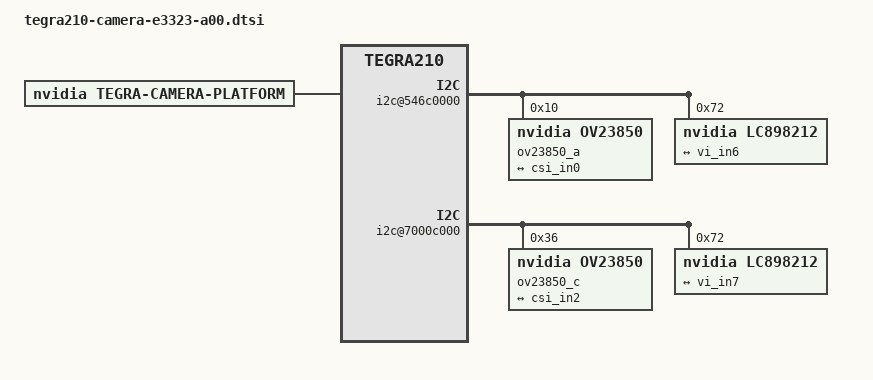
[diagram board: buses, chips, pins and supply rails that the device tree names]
/*
 * Copyright (c) 2015, NVIDIA CORPORATION.  All rights reserved.
 *
 * This program is free software; you can redistribute it and/or modify
 * it under the terms of the GNU General Public License as published by
 * the Free Software Foundation; either version 2 of the License, or
 * (at your option) any later version.
 *
 * This program is distributed in the hope that it will be useful, but WITHOUT
 * ANY WARRANTY; without even the implied warranty of MERCHANTABILITY or
 * FITNESS FOR A PARTICULAR PURPOSE.  See the GNU General Public License for
 * more details.
 *
 * You should have received a copy of the GNU General Public License
 * along with this program.  If not, see <http://www.gnu.org/licenses/>.
 */

#include <dt-bindings/media/camera.h>
#include <dt-bindings/platform/t210/t210.h>

/ {
	host1x {
		vi {
			ports {
				port@6 {
					reg = <6>;

					vi_in6: endpoint {
						remote-endpoint = <&lc898212_out0>;
					};
				};
				port@7 {
					reg = <7>;

					vi_in7: endpoint {
						remote-endpoint = <&lc898212_out1>;
					};
				};
			};
			csia@54080838 {
				ports {
					#address-cells = <1>;
					#size-cells = <0>;

					port@0 {
						reg = <0>;
						csi_in0: endpoint@0 {
							bus-width = <4>;
							remote-endpoint = <&ov23850_out0>;
						};
					};
				};
			};

			csic@54081038 {
				ports {
					#address-cells = <1>;
					#size-cells = <0>;

					port@0 {
						reg = <0>;
						csi_in2: endpoint@0 {
							bus-width = <4>;
							remote-endpoint = <&ov23850_out2>;
						};
					};
				};
			};
		};

		i2c@546c0000 {
			ov23850_a@10 {
				compatible = "nvidia,ov23850";

				reg = <0x10>;
				/* Physical dimensions of sensor */
				physical_w = "7.3998";
				physical_h = "5.5998";

				/* Define any required hw resources needed by driver */
				/* ie. clocks, io pins, power sources */
				avdd-reg = "vana";
				dvdd-reg = "vdig";
				iovdd-reg = "vif";
				vcmvdd-reg = "vvcm";
				devnode = "/dev/camera/video0";

				/**
				* Generic formula to calculate different parameters.
				* Please add the formula in proper parenthesis.
				* Formula must contain only these operators '*' '/' '+' '-' '(' ')'
				* Formula containing both numbers and variables is supported. Refer example #3.
				* There must be atleast one operator inside the parenthesis. Refer example #4.
				* Don't use spaces. Refer example #5.
				*
				* Examples -
				* 1. formula = "(powerx+powery)+(exposure*2)"; /// correct example
				* 2. formula = "((2*(6-1))/2)*4";          /// correct example
				* 3. formula = "((powerx*(6-1))/2)*4";     /// correct example
				* 4. formula = "((2*(6-1))*2)/(2)";        /// incorrect example - extra use of parenthesis
				* 5. formula = "((2*(6-1)) / 2)*4";        /// incorrect example - use of spaces
				*/

				/**
				* A modeX node is required to support v4l2 driver
				* implementation with NVIDIA camera software stack
				*
				* mclk_khz = "";
				* Standard MIPI driving clock, typically 24MHz
				*
				* num_lanes = "";
				* Number of lane channels sensor is programmed to output
				*
				* tegra_sinterface = "";
				* The base tegra serial interface lanes are connected to
				*
				* discontinuous_clk = "";
				* The sensor is programmed to use a discontinuous clock on MIPI lanes
				*
				* dpcm_enable = "true";
				* The sensor is programmed to use a DPCM modes
				*
				* cil_settletime = "";
				* MIPI lane settle time value.
				* A "0" value attempts to autocalibrate based on mclk_multiplier
				*
				*
				*
				*
				* active_w = "";
				* Pixel active region width
				*
				* active_h = "";
				* Pixel active region height
				*
				* pixel_t = "";
				* The sensor readout pixel pattern
				*
				* readout_orientation = "0";
				* Based on camera module orientation.
				* Only change readout_orientation if you specifically
				* Program a different readout order for this mode
				*
				* line_length = "";
				* Pixel line length (width) for sensor mode.
				* This is used to calibrate features in our camera stack.
				*
				* mclk_multiplier = "";
				* Multiplier to MCLK to help time hardware capture sequence
				* TODO: Assign to PLL_Multiplier as well until fixed in core
				*
				* pix_clk_hz = "";
				* Sensor pixel clock used for calculations like exposure and framerate
				*
				*
				*
				*
				* inherent_gain = "";
				* Gain obtained inherently from mode (ie. pixel binning)
				*
				* min_gain_val = ""; (floor to 6 decimal places)
				* max_gain_val = ""; (floor to 6 decimal places)
				* Gain limits for mode
				*
				* min_exp_time = ""; (ceil to integer)
				* max_exp_time = ""; (ceil to integer)
				* Exposure Time limits for mode (us)
				*
				*
				* min_hdr_ratio = "";
				* max_hdr_ratio = "";
				* HDR Ratio limits for mode
				*
				* min_framerate = "";
				* max_framerate = "";
				* Framerate limits for mode (fps)
				*
				*/

				mode0 { // OV23850_MODE_5632X4224
					mclk_khz = "24000";
					num_lanes = "4";
					tegra_sinterface = "serial_a";
					discontinuous_clk = "no";
					dpcm_enable = "false";
					cil_settletime = "0";

					active_w = "5632";
					active_h = "4224";
					pixel_t = "bayer_bggr";
					readout_orientation = "270";
					line_length = "7200";
					inherent_gain = "1";
					mclk_multiplier = "31.25";
					pix_clk_hz = "750000000";

					min_gain_val = "1.0";
					max_gain_val = "15.5";
					min_hdr_ratio = "1";
					max_hdr_ratio = "64";
					min_framerate = "3.179011";
					max_framerate = "21";
					min_exp_time = "20";
					max_exp_time = "314256";
				};

				mode1 { // OV23850_MODE_5632X3168
					mclk_khz = "24000";
					num_lanes = "4";
					tegra_sinterface = "serial_a";
					discontinuous_clk = "no";
					dpcm_enable = "false";
					cil_settletime = "0";

					active_w = "5632";
					active_h = "3168";
					pixel_t = "bayer_bggr";
					readout_orientation = "270";
					line_length = "7108";
					inherent_gain = "1";
					mclk_multiplier = "31.25";
					pix_clk_hz = "750000000";

					min_gain_val = "1.0";
					max_gain_val = "15.5";
					min_hdr_ratio = "1";
					max_hdr_ratio = "64";
					min_framerate = "3.220157";
					max_framerate = "30";
					min_exp_time = "19";
					max_exp_time = "310241";
				};
				ports {
					#address-cells = <1>;
					#size-cells = <0>;

					port@0 {
						reg = <0>;
						ov23850_out0: endpoint {
							bus-width = <4>;
							remote-endpoint = <&csi_in0>;
						};
					};
				};
			};
			lc898212@6_0072 {
				compatible = "nvidia,lc898212";
				reg = <0x72>;

				/* physical camera layer interface tags */
				devnode = "/dev/camera/video6";
				/**
				* Type specifies the control features supported by
				* the focuser driver.
				* default type means only position control setting
				* supported by the focuser
				*/
				type = "default";

				ports {
					#address-cells = <1>;
					#size-cells = <0>;
					port@0 {
						reg = <0>;
						lc898212_out0: endpoint {
							remote-endpoint = <&vi_in6>;
						};
					};
				};
			};
		};
	};

	i2c@7000c000 {
		ov23850_c@36 {
			compatible = "nvidia,ov23850";

			reg = <0x36>;
			/* Physical dimensions of sensor */
			physical_w = "7.3998";
			physical_h = "5.5998";

			/* Define any required hw resources needed by driver */
			/* ie. clocks, io pins, power sources */
			avdd-reg = "vana";
			dvdd-reg = "vdig";
			iovdd-reg = "vif";
			vcmvdd-reg = "vvcm";
			devnode = "/dev/camera/video2";

			mode0 { // OV23850_MODE_5632X4224
				mclk_khz = "24000";
				num_lanes = "4";
				tegra_sinterface = "serial_c";
				discontinuous_clk = "no";
				dpcm_enable = "false";
				cil_settletime = "0";

				active_w = "5632";
				active_h = "4224";
				pixel_t = "bayer_bggr";
				readout_orientation = "270";
				line_length = "7200";
				inherent_gain = "1";
				mclk_multiplier = "31.25";
				pix_clk_hz = "750000000";

				min_gain_val = "1.0";
				max_gain_val = "15.5";
				min_hdr_ratio = "1";
				max_hdr_ratio = "64";
				min_framerate = "3.179011";
				max_framerate = "21";
				min_exp_time = "20";
				max_exp_time = "314256";
			};

			mode1 { // OV23850_MODE_5632X3168
				mclk_khz = "24000";
				num_lanes = "4";
				tegra_sinterface = "serial_c";
				discontinuous_clk = "no";
				dpcm_enable = "false";
				cil_settletime = "0";

				active_w = "5632";
				active_h = "3168";
				pixel_t = "bayer_bggr";
				readout_orientation = "270";
				line_length = "7108";
				inherent_gain = "1";
				mclk_multiplier = "31.25";
				pix_clk_hz = "750000000";

				min_gain_val = "1.0";
				max_gain_val = "15.5";
				min_hdr_ratio = "1";
				max_hdr_ratio = "64";
				min_framerate = "3.220157";
				max_framerate = "30";
				min_exp_time = "19";
				max_exp_time = "310467";
			};
			ports {
				#address-cells = <1>;
				#size-cells = <0>;

				port@0 {
					reg = <0>;
					ov23850_out2: endpoint {
						bus-width = <4>;
						remote-endpoint = <&csi_in2>;
					};
				};
			};
		};

		lc898212@0_0072 {
			compatible = "nvidia,lc898212";
			reg = <0x72>;

			/* physical camera layer interface tags */
			devnode = "/dev/camera/video7";
			type = "default";

			ports {
				#address-cells = <1>;
				#size-cells = <0>;
				port@0 {
					reg = <0>;
					lc898212_out1: endpoint {
						remote-endpoint = <&vi_in7>;
					};
				};
			};
		};
	};

	tegra-camera-platform {
		compatible = "nvidia, tegra-camera-platform";

		/**
		* The general guideline for naming badge_info contains 3 parts, and is as follows,
		* The first part is the camera_board_id for the module; if the module is in a FFD
		* platform, then use the platform name for this part.
		* The second part contains the position of the module, ex. “rear” or “front”.
		* The third part contains the last 6 characters of a part number which is found
		* in the module's specsheet from the vender.
		*/
		modules {
			module0 {
				badge = "e3323_bottom_CH06P1";
				position = "bottom";
				orientation = "3";
				drivernode0 {
					/* Declare PCL support driver (classically known as guid)  */
					pcl_id = "v4l2_soc_sensor";
					/* Declare the device-tree hierarchy to driver instance */
					proc-device-tree = "/proc/device-tree/host1x/i2c@546c0000/ov23850_a@10";
				};
				drivernode1 {
					/* Declare PCL support driver (classically known as guid)  */
					pcl_id = "v4l2_focuser";
					/* Declare the device-tree hierarchy to driver instance */
					proc-device-tree = "/proc/device-tree/host1x/i2c@546c0000/lc898212@6_0072";
				};
			};
			module1 {
				badge = "e3323_top_CH06P1";
				position = "top";
				orientation = "3";
				drivernode0 {
					/* Declare PCL support driver (classically known as guid)  */
					pcl_id = "v4l2_soc_sensor";
					/* Declare the device-tree hierarchy to driver instance */
					proc-device-tree = "/proc/device-tree/i2c@7000c000/ov23850_c@36";
				};
				drivernode1 {
					/* Declare PCL support driver (classically known as guid)  */
					pcl_id = "v4l2_focuser";
					/* Declare the device-tree hierarchy to driver instance */
					proc-device-tree = "/proc/device-tree/i2c@7000c000/lc898212@0_0072";
				};
			};
		};
	};
};
